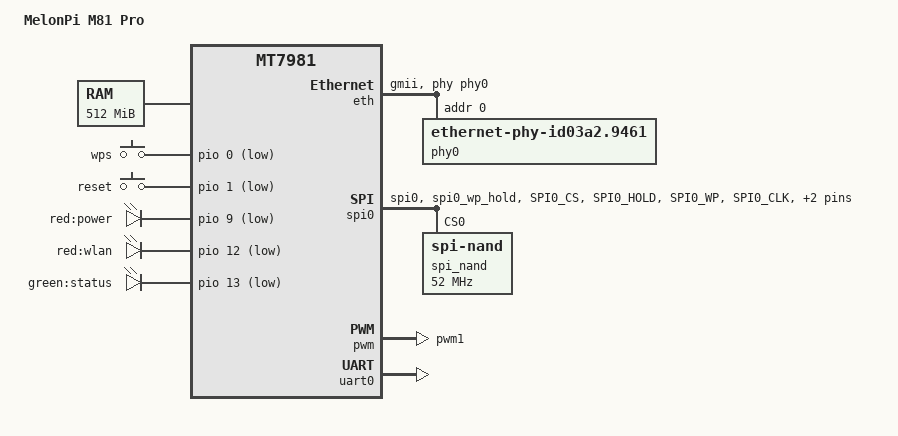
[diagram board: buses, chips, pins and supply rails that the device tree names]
// SPDX-License-Identifier: GPL-2.0

/dts-v1/;
#include "mt7981.dtsi"
#include <dt-bindings/gpio/gpio.h>


/ {
	#address-cells = <1>;
	#size-cells = <1>;
	
	model = "MelonPi M81 Pro";
	compatible = "mediatek,mt7981", "mediatek,mt7981-rfb";
	
	chosen {
		stdout-path = &uart0;
		tick-timer = &timer0;
	};
	
	memory@40000000 {
		device_type = "memory";
		reg = <0x40000000 0x20000000>;
	};
	
	config {
		bootcmd = "mtkboardboot";
		blink_led = "green:status";
		system_led = "green:status";
	};
	
	gpio-keys {
		compatible = "gpio-keys";
		
		button-wps {
			label = "wps";
			gpios = <&pio 0 GPIO_ACTIVE_LOW>;
		};
		
		button-reset {
			label = "reset";
			gpios = <&pio 1 GPIO_ACTIVE_LOW>;
		};
	};
	
	gpio-leds {
		compatible = "gpio-leds";
		
		led-0 {
			label = "red:power";
			gpios = <&pio 9 GPIO_ACTIVE_LOW>;
		};
		
		led-1 {
			label = "red:wlan";
			gpios = <&pio 12 GPIO_ACTIVE_LOW>;
		};
		
		status_led: led-2 {
			label = "green:status";
			gpios = <&pio 13 GPIO_ACTIVE_LOW>;
		};
	};

	bl2_verify {
		bl2_compatible = "spim-nand";
	};
};

&eth {
	status = "okay";
	mediatek,gmac-id = <1>;
	phy-mode = "gmii";
	phy-handle = <&phy0>;

	phy0: ethernet-phy@0 {
		compatible = "ethernet-phy-id03a2.9461";
		reg = <0x0>;
		phy-mode = "gmii";
	};
};

&pio {
	spi_flash_pins: spi0-pins-func-1 {
		mux {
			function = "flash";
			groups = "spi0", "spi0_wp_hold";
		};

		conf-pu {
			pins = "SPI0_CS", "SPI0_HOLD", "SPI0_WP";
			drive-strength = <MTK_DRIVE_4mA>;
			bias-pull-up = <MTK_PUPD_SET_R1R0_11>;
		};

		conf-pd {
			pins = "SPI0_CLK", "SPI0_MOSI", "SPI0_MISO";
			drive-strength = <MTK_DRIVE_4mA>;
			bias-pull-down = <MTK_PUPD_SET_R1R0_11>;
		};
	};

	pwm1_pins: pwm1-pins-func-1 {
		mux {
			function = "pwm";
			groups = "pwm1";
		};
	};
};

&spi0 {
	#address-cells = <1>;
	#size-cells = <0>;
	pinctrl-names = "default";
	pinctrl-0 = <&spi_flash_pins>;
	status = "okay";
	must_tx;
	enhance_timing;
	dma_ext;
	ipm_design;
	support_quad;
	tick_dly = <2>;
	sample_sel = <0>;
	
	spi_nand@0 {
		compatible = "spi-nand";
		reg = <0>;
		spi-max-frequency = <52000000>;
		spi-rx-bus-width = <4>;
		spi-tx-bus-width = <4>;		
	};
};

&pwm {
	pinctrl-names = "default";
	pinctrl-0 = <&pwm1_pins>;
	status = "okay";
};

&uart0 {
	status = "okay";
};

&watchdog {
	status = "disabled";
};
